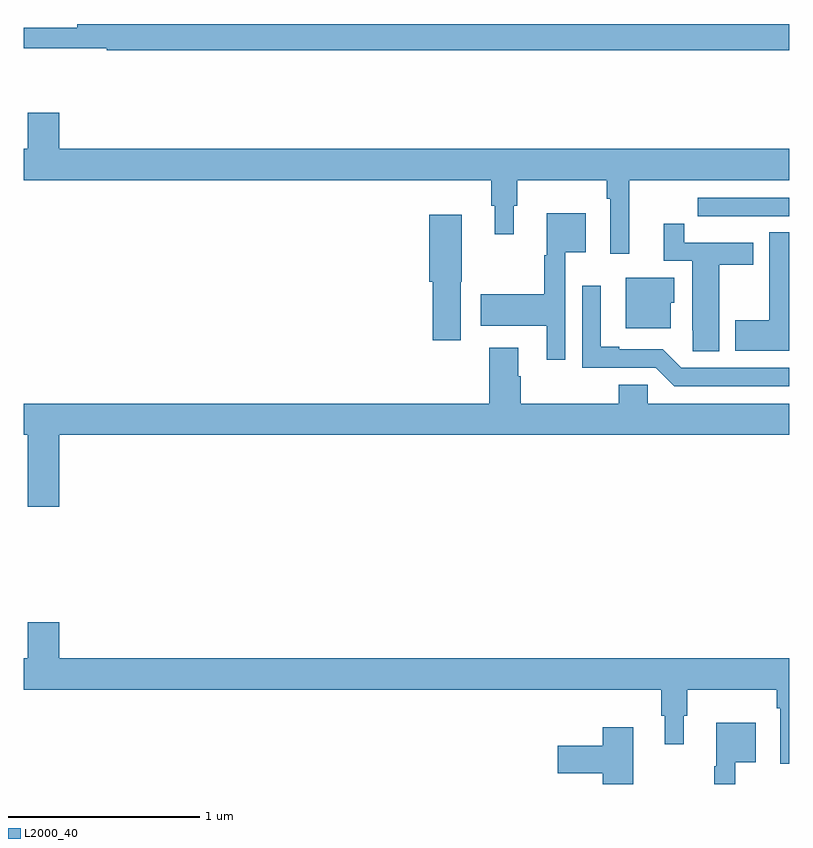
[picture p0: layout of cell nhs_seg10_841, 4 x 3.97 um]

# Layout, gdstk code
import gdstk
lib = gdstk.Library(unit=1e-6, precision=1e-09)
def P(c, l, *ps):  # polygons
    for p in ps: c.add(gdstk.Polygon(p, *l))
L2000_40 = (2000, 40)

nhs_seg10_841 = lib.new_cell('nhs_seg10_841')
P(nhs_seg10_841, L2000_40, [(157,1294.472),(153.28,1294.472),(153.28,1294.453),(153,1294.453),(153,1294.344),(153.434,1294.344),(153.434,1294.336),(157,1294.336)],
  [(156.164,1293.656),(157,1293.656),(157,1293.82),(153.184,1293.82),(153.184,1294.009),(153.02,1294.009),(153.02,1293.82),(153,1293.82),(153,1293.656),(155.443,1293.656),(155.443,1293.522),(155.462,1293.522),(155.462,1293.372),(155.56,1293.372),(155.56,1293.522),(155.579,1293.522),(155.579,1293.656),(156.046,1293.656),(156.046,1293.56),(156.066,1293.56),(156.066,1293.27),(156.164,1293.27)],
  [(156.8,1293.468),(157,1293.468),(157,1293.564),(156.522,1293.564),(156.522,1293.468),(156.634,1293.468),(156.634,1293.467),(156.8,1293.467)],
  [(155.829,1293.278),(155.938,1293.278),(155.938,1293.484),(155.732,1293.484),(155.732,1293.264),(155.721,1293.264),(155.721,1293.06),(155.388,1293.06),(155.388,1292.894),(155.732,1292.894),(155.732,1292.718),(155.829,1292.718)],
  [(155.284,1293.126),(155.29,1293.126),(155.29,1293.475),(155.12,1293.475),(155.12,1293.126),(155.138,1293.126),(155.138,1292.82),(155.284,1292.82)],
  [(156.634,1293.214),(156.811,1293.214),(156.811,1293.33),(156.452,1293.33),(156.452,1293.427),(156.344,1293.427),(156.344,1293.234),(156.494,1293.234),(156.494,1292.872),(156.495,1292.872),(156.495,1292.761),(156.634,1292.761)],
  [(157,1293.383),(156.896,1293.383),(156.896,1292.925),(156.719,1292.925),(156.719,1292.765),(157,1292.765)],
  [(156.382,1293.015),(156.4,1293.015),(156.4,1293.145),(156.146,1293.145),(156.146,1292.882),(156.382,1292.882)],
  [(157,1292.676),(156.435,1292.676),(156.339,1292.772),(156.112,1292.772),(156.112,1292.785),(156.016,1292.785),(156.016,1293.103),(155.919,1293.103),(155.919,1292.676),(156.303,1292.676),(156.399,1292.58),(157,1292.58)],
  [(153.184,1292.324),(157,1292.324),(157,1292.488),(156.261,1292.488),(156.261,1292.586),(156.11,1292.586),(156.11,1292.488),(155.597,1292.488),(155.597,1292.63),(155.584,1292.63),(155.584,1292.779),(155.432,1292.779),(155.432,1292.488),(153,1292.488),(153,1292.324),(153.02,1292.324),(153.02,1291.95),(153.184,1291.95)],
  [(157,1291.156),(153.184,1291.156),(153.184,1291.345),(153.02,1291.345),(153.02,1291.156),(153,1291.156),(153,1290.992),(156.331,1290.992),(156.331,1290.858),(156.35,1290.858),(156.35,1290.708),(156.448,1290.708),(156.448,1290.858),(156.467,1290.858),(156.467,1290.992),(156.934,1290.992),(156.934,1290.896),(156.954,1290.896),(156.954,1290.606),(157,1290.606)],
  [(156.717,1290.614),(156.826,1290.614),(156.826,1290.82),(156.62,1290.82),(156.62,1290.594),(156.609,1290.594),(156.609,1290.5),(156.717,1290.5)],
  [(156.186,1290.796),(156.026,1290.796),(156.026,1290.699),(155.79,1290.699),(155.79,1290.557),(156.026,1290.557),(156.026,1290.5),(156.186,1290.5)])

lib.write_gds('nhs_seg10_841.gds')
